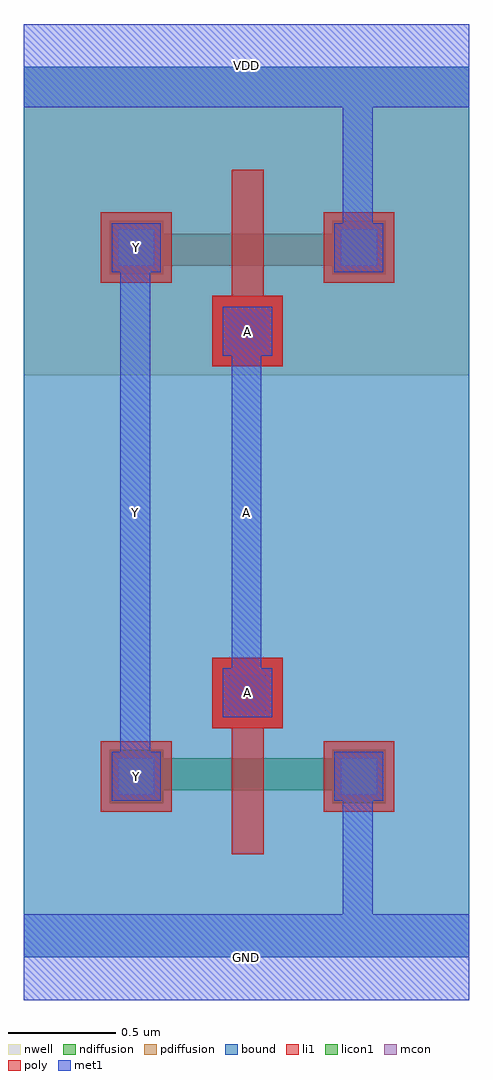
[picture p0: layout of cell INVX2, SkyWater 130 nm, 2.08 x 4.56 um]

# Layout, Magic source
magic
# Generated by librecell
tech sky130A
<< nwell >>
rect 0 272 208 416
<< mcon >>
rect 44 76 61 93
rect 148 76 165 93
rect 96 115 113 132
rect 96 284 113 301
rect 44 323 61 340
rect 148 323 165 340
<< poly >>
rect 97 48 112 107
rect 88 107 121 140
rect 88 276 121 309
rect 97 309 112 368
<< bound >>
rect 0 0 208 416
<< li1 >>
rect 36 68 69 101
rect 140 68 173 101
rect 88 107 121 140
rect 88 276 121 309
rect 36 315 69 348
rect 140 315 173 348
<< met1 >>
rect 0 -20 208 20
rect 149 20 163 73
rect 145 73 168 96
rect 93 112 116 135
rect 97 135 111 281
rect 93 281 116 304
rect 41 73 64 96
rect 45 96 59 320
rect 41 320 64 343
rect 145 320 168 343
rect 149 343 163 397
rect 0 397 208 436
<< li1 >>
<< met1 >>
<< li1 >>
<< met1 >>
rect 0 -20 208 20
rect 93 112 116 135
rect 97 135 111 281
rect 93 281 116 304
rect 41 73 64 96
rect 45 96 59 320
rect 41 320 64 343
rect 0 397 208 436
<< ndiffusion >>
rect 40 72 65 78
rect 144 72 169 78
rect 40 78 169 93
rect 40 93 65 97
rect 144 93 169 97
<< pdiffusion >>
rect 40 319 65 323
rect 144 319 169 323
rect 40 323 169 338
rect 40 338 65 344
rect 144 338 169 344
<< licon1 >>
rect 96 115 113 132
rect 96 284 113 301
<< licon1 >>
rect 44 76 61 93
rect 148 76 165 93
rect 44 323 61 340
rect 148 323 165 340
<< labels >>
rlabel metal2 0 397 208 436 0 VDD
port 1 se
rlabel metal2 0 -20 208 20 0 GND
port 2 se
rlabel metal2 41 73 64 96 0 Y
port 3 se
rlabel metal2 45 96 59 320 0 Y
port 4 se
rlabel metal2 41 320 64 343 0 Y
port 5 se
rlabel metal2 93 112 116 135 0 A
port 6 se
rlabel metal2 97 135 111 281 0 A
port 7 se
rlabel metal2 93 281 116 304 0 A
port 8 se
<< end >>
